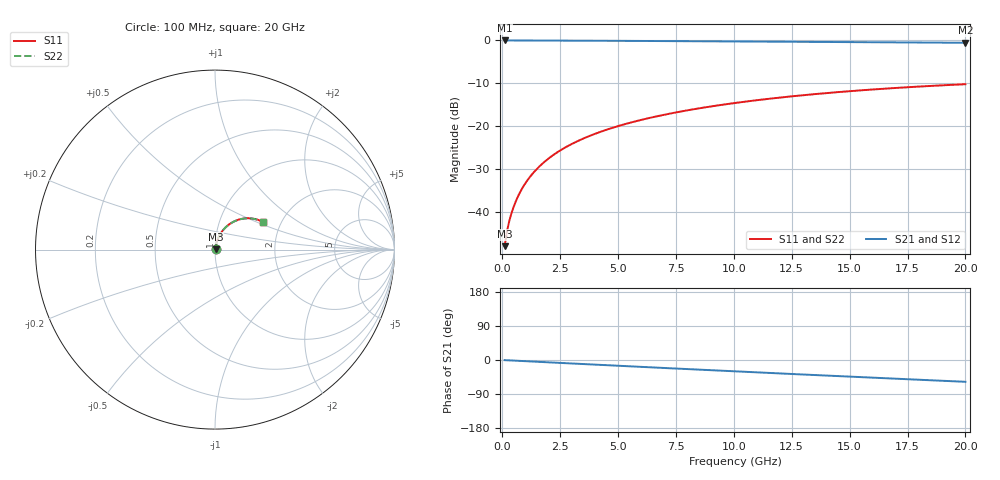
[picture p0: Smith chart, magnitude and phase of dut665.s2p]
! Touchstone file exported from HFSS 2026.1.0
!  File:  C:/ffzhzh/LocalFiles/Ansys_Project_Files/temp_train_TMRDL_665_1783009804_53980.aedt
!  Generated:  12:31:33 AM Jul  3, 2026
!  Design:  TMRDL
!  Project:  temp_train_TMRDL_665_1783009804_53980
! Variables:
!  h_bsmrdl = 2um
!  h_ox = 20um
!  h_rdl = 5um
!  h_sub = 80um
!  h_tmrdl = 4.56um
!  h_tsv = 80um
!  h_via = 3um
!  l_bsmrdl = 300um
!  l_sub = 1369.63um
!  l_tmrdl = 969.63um
!  m_sub = 200um
!  pitch = 43.27um
!  r_tsv = 6um
!  s_tmrdl = 10um
!  w_bsmrdl = 18um
!  w_sub = 500um
!  w_tmrdl = 27.36um
!  x_tsv_center1 = 983.31um
!  x_tsv_center2 = 1301.31um
!  x_tsv_center3 = 2298.3um
!  x_tsv_center4 = 2616.3um
!  x_tsv_center5 = 3613.29um
!  x_tsv_center6 = 3931.29um
# GHz S MA R 50.000000
! Terminal data exported
! Port[1] = TM_RDL1_1_T1
! Port[2] = TM_RDL1_1_T2
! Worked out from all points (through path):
!   200 points, 100 MHz to 20 GHz, reference 50 ohm
!   highest |S21| = -0.03 dB at 100 MHz (marker M1); lowest = -0.6 dB at 20 GHz (marker M2)
!   group delay of S21, straight-line fit = 7.97 ps
!   lowest |S11| = -48.0 dB at 100 MHz (marker M3), VSWR 1.01, Z = 50.3 + j0.253 ohm
!   |S11| at or under -10 dB: start of sweep to end of sweep
!   |S22| runs from -48.0 to -10.2 dB; largest |S21 - S12| = 1.2e-14
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0.1  0.003963 39.4  0.997 -0.3  0.997 -0.3  0.003963 39.4
! Gamma 0 0 0 0
! Port Impedance 50 0 50 0
0.2  0.005858 54.1  0.9966 -0.7  0.9966 -0.7  0.005858 54.1
0.3  0.007764 61.1  0.9963 -1.0  0.9963 -1.0  0.007764 61.1
0.4  0.009667 65.6  0.9962 -1.3  0.9962 -1.3  0.009667 65.6
0.5  0.01159 68.7  0.996 -1.6  0.996 -1.6  0.01159 68.7
0.6  0.01355 71.0  0.9959 -1.9  0.9959 -1.9  0.01355 71.0
0.8  0.01752 73.9  0.9957 -2.5  0.9957 -2.5  0.01752 73.9
1.1  0.02358 76.0  0.9954 -3.4  0.9954 -3.4  0.02358 76.0
1.3  0.02764 76.7  0.9952 -4.0  0.9952 -4.0  0.02764 76.7
1.6  0.03373 77.1  0.9948 -4.9  0.9948 -4.9  0.03373 77.1
2.1  0.04384 76.8  0.9939 -6.5  0.9939 -6.5  0.04384 76.8
2.7  0.05582 75.9  0.9928 -8.3  0.9928 -8.3  0.05583 75.8
3.5  0.07148 74.0  0.9909 -10.7  0.9909 -10.7  0.07149 74.0
4.2  0.08487 72.3  0.9891 -12.8  0.9891 -12.8  0.08488 72.2
5  0.09981 70.2  0.9869 -15.2  0.9869 -15.2  0.09981 70.1
5.9  0.1162 67.8  0.9843 -17.9  0.9843 -17.9  0.1162 67.7
6.8  0.1321 65.3  0.9815 -20.5  0.9815 -20.5  0.1321 65.3
8.3  0.1576 61.3  0.9767 -24.9  0.9767 -24.9  0.1576 61.2
10.1  0.1866 56.4  0.9706 -30.1  0.9706 -30.1  0.1866 56.3
13.4  0.2345 47.5  0.959 -39.4  0.959 -39.4  0.2345 47.4
16.7  0.275 38.8  0.9474 -48.6  0.9474 -48.6  0.2751 38.6
20  0.3077 30.1  0.9368 -57.5  0.9368 -57.5  0.3078 29.9
